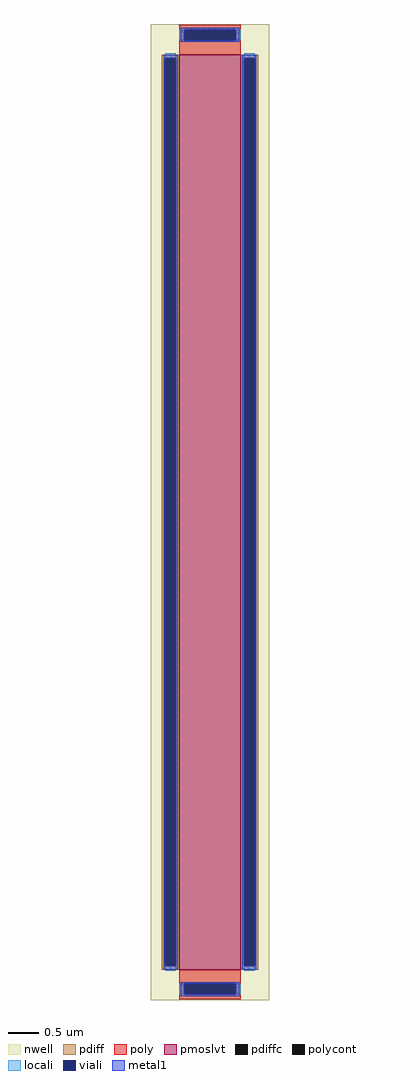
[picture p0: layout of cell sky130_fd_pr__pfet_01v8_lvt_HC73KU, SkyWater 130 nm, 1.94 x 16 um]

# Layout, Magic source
magic
tech sky130A
magscale 1 2
<< nwell >>
rect -194 -1600 194 1600
<< pmoslvt >>
rect -100 -1500 100 1500
<< pdiff >>
rect -158 1488 -100 1500
rect -158 -1488 -146 1488
rect -112 -1488 -100 1488
rect -158 -1500 -100 -1488
rect 100 1488 158 1500
rect 100 -1488 112 1488
rect 146 -1488 158 1488
rect 100 -1500 158 -1488
<< pdiffc >>
rect -146 -1488 -112 1488
rect 112 -1488 146 1488
<< poly >>
rect -100 1581 100 1597
rect -100 1547 -84 1581
rect 84 1547 100 1581
rect -100 1500 100 1547
rect -100 -1547 100 -1500
rect -100 -1581 -84 -1547
rect 84 -1581 100 -1547
rect -100 -1597 100 -1581
<< polycont >>
rect -84 1547 84 1581
rect -84 -1581 84 -1547
<< locali >>
rect -100 1547 -84 1581
rect 84 1547 100 1581
rect -146 1488 -112 1504
rect -146 -1504 -112 -1488
rect 112 1488 146 1504
rect 112 -1504 146 -1488
rect -100 -1581 -84 -1547
rect 84 -1581 100 -1547
<< viali >>
rect -84 1547 84 1581
rect -146 -1488 -112 1488
rect 112 -1488 146 1488
rect -84 -1581 84 -1547
<< metal1 >>
rect -96 1581 96 1587
rect -96 1547 -84 1581
rect 84 1547 96 1581
rect -96 1541 96 1547
rect -152 1488 -106 1500
rect -152 -1488 -146 1488
rect -112 -1488 -106 1488
rect -152 -1500 -106 -1488
rect 106 1488 152 1500
rect 106 -1488 112 1488
rect 146 -1488 152 1488
rect 106 -1500 152 -1488
rect -96 -1547 96 -1541
rect -96 -1581 -84 -1547
rect 84 -1581 96 -1547
rect -96 -1587 96 -1581
<< properties >>
string gencell sky130_fd_pr__pfet_01v8_lvt
string library sky130
string parameters w 15 l 1 m 1 nf 1 diffcov 100 polycov 100 guard 0 glc 1 grc 1 gtc 1 gbc 1 tbcov 100 rlcov 100 topc 1 botc 1 poverlap 0 doverlap 1 lmin 0.35 wmin 0.42 class mosfet compatible {sky130_fd_pr__pfet_01v8  sky130_fd_pr__pfet_01v8_lvt sky130_fd_pr__pfet_01v8_hvt  sky130_fd_pr__pfet_g5v0d10v5} full_metal 1 viasrc 100 viadrn 100 viagate 100 viagb 0 viagr 0 viagl 0 viagt 0
<< end >>
